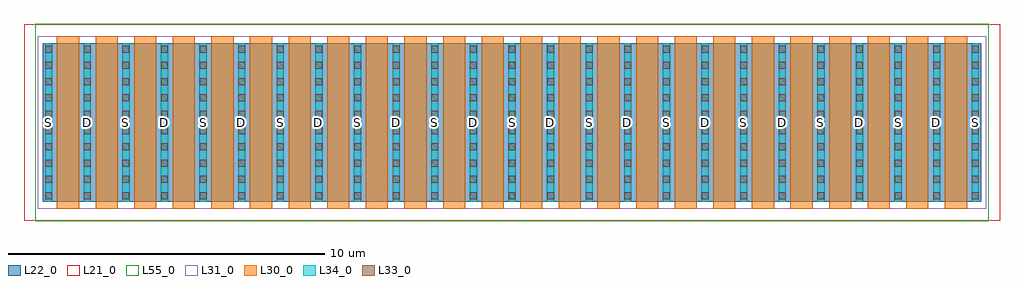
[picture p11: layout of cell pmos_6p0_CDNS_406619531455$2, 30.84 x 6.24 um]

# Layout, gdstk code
import gdstk
lib = gdstk.Library(unit=1e-6, precision=1e-09)
def R(c, l, rs):  # rectangles x0, y0, x1, y1
    for r in rs: c.add(gdstk.rectangle(r[:2], r[2:], *l))
def A(c, l, x, y, w, h, nx, ny, dx, dy):  # array of equal rectangles
    R(c, l, [(x+i*dx, y+j*dy, x+i*dx+w, y+j*dy+h) for i in range(nx) for j in range(ny)])
L21_0 = (21, 0)
L22_0 = (22, 0)
L30_0 = (30, 0)
L31_0 = (31, 0)
L33_0 = (33, 0)
L34_0 = (34, 0)
L55_0 = (55, 0)

pmos_6p0_cdns_4066195314 = lib.new_cell('pmos_6p0_CDNS_406619531455$2')
R(pmos_6p0_cdns_4066195314, L21_0, [(-1.04,-0.6,29.8,5.6)])
A(pmos_6p0_cdns_4066195314, L22_0, -0.44, 0, 0.36, 5, 25, 1, 1.22, 0)
R(pmos_6p0_cdns_4066195314, L22_0, [(-0.44,0,29.2,5)])
A(pmos_6p0_cdns_4066195314, L30_0, 0, -0.22, 0.7, 5.44, 24, 1, 1.22, 0)
A(pmos_6p0_cdns_4066195314, L30_0, 0, 5, 0.7, 0.22, 24, 1, 1.22, 0)
R(pmos_6p0_cdns_4066195314, L31_0, [(-0.6,-0.23,29.36,5.23)])
A(pmos_6p0_cdns_4066195314, L33_0, -0.37, 0.07, 0.22, 0.22, 25, 2, 1.22, 0.52)
A(pmos_6p0_cdns_4066195314, L33_0, -0.37, 1.105, 0.22, 0.22, 25, 8, 1.22, 0.515)
R(pmos_6p0_cdns_4066195314, L34_0, [(-0.375,0,-0.145,5), (-0.375,0,-0.145,5), (0.845,0,1.075,5), (0.845,0,1.075,5), (2.065,0,2.295,5), (2.065,0,2.295,5), (3.285,0,3.515,5), (3.285,0,3.515,5), (4.505,0,4.735,5), (4.505,0,4.735,5), (5.725,0,5.955,5), (5.725,0,5.955,5), (6.945,0,7.175,5), (6.945,0,7.175,5), (8.165,0,8.395,5), (8.165,0,8.395,5), (9.385,0,9.615,5), (9.385,0,9.615,5), (10.605,0,10.835,5), (10.605,0,10.835,5), (11.825,0,12.055,5), (11.825,0,12.055,5), (13.045,0,13.275,5), (13.045,0,13.275,5), (14.265,0,14.495,5), (14.265,0,14.495,5), (15.485,0,15.715,5), (15.485,0,15.715,5), (16.705,0,16.935,5), (16.705,0,16.935,5), (17.925,0,18.155,5), (17.925,0,18.155,5), (19.145,0,19.375,5), (19.145,0,19.375,5), (20.365,0,20.595,5), (20.365,0,20.595,5), (21.585,0,21.815,5), (21.585,0,21.815,5), (22.805,0,23.035,5), (22.805,0,23.035,5), (24.025,0,24.255,5), (24.025,0,24.255,5), (25.245,0,25.475,5), (25.245,0,25.475,5), (26.465,0,26.695,5), (26.465,0,26.695,5), (27.685,0,27.915,5), (27.685,0,27.915,5), (28.905,0,29.135,5), (28.905,0,29.135,5)])
R(pmos_6p0_cdns_4066195314, L55_0, [(-0.68,-0.62,29.44,5.62)])
pmos_6p0_cdns_4066195314.add(gdstk.Label('S', (-0.26,2.5), layer=34, texttype=0))
pmos_6p0_cdns_4066195314.add(gdstk.Label('S', (29.02,2.5), layer=34, texttype=0))
pmos_6p0_cdns_4066195314.add(gdstk.Label('D', (0.96,2.5), layer=34, texttype=0))
pmos_6p0_cdns_4066195314.add(gdstk.Label('S', (2.18,2.5), layer=34, texttype=0))
pmos_6p0_cdns_4066195314.add(gdstk.Label('D', (3.4,2.5), layer=34, texttype=0))
pmos_6p0_cdns_4066195314.add(gdstk.Label('S', (4.62,2.5), layer=34, texttype=0))
pmos_6p0_cdns_4066195314.add(gdstk.Label('D', (5.84,2.5), layer=34, texttype=0))
pmos_6p0_cdns_4066195314.add(gdstk.Label('S', (7.06,2.5), layer=34, texttype=0))
pmos_6p0_cdns_4066195314.add(gdstk.Label('D', (8.28,2.5), layer=34, texttype=0))
pmos_6p0_cdns_4066195314.add(gdstk.Label('S', (9.5,2.5), layer=34, texttype=0))
pmos_6p0_cdns_4066195314.add(gdstk.Label('D', (10.72,2.5), layer=34, texttype=0))
pmos_6p0_cdns_4066195314.add(gdstk.Label('S', (11.94,2.5), layer=34, texttype=0))
pmos_6p0_cdns_4066195314.add(gdstk.Label('D', (13.16,2.5), layer=34, texttype=0))
pmos_6p0_cdns_4066195314.add(gdstk.Label('S', (14.38,2.5), layer=34, texttype=0))
pmos_6p0_cdns_4066195314.add(gdstk.Label('D', (15.6,2.5), layer=34, texttype=0))
pmos_6p0_cdns_4066195314.add(gdstk.Label('S', (16.82,2.5), layer=34, texttype=0))
pmos_6p0_cdns_4066195314.add(gdstk.Label('D', (18.04,2.5), layer=34, texttype=0))
pmos_6p0_cdns_4066195314.add(gdstk.Label('S', (19.26,2.5), layer=34, texttype=0))
pmos_6p0_cdns_4066195314.add(gdstk.Label('D', (20.48,2.5), layer=34, texttype=0))
pmos_6p0_cdns_4066195314.add(gdstk.Label('S', (21.7,2.5), layer=34, texttype=0))
pmos_6p0_cdns_4066195314.add(gdstk.Label('D', (22.92,2.5), layer=34, texttype=0))
pmos_6p0_cdns_4066195314.add(gdstk.Label('S', (24.14,2.5), layer=34, texttype=0))
pmos_6p0_cdns_4066195314.add(gdstk.Label('D', (25.36,2.5), layer=34, texttype=0))
pmos_6p0_cdns_4066195314.add(gdstk.Label('S', (26.58,2.5), layer=34, texttype=0))
pmos_6p0_cdns_4066195314.add(gdstk.Label('D', (27.8,2.5), layer=34, texttype=0))

lib.write_gds('pmos_6p0_CDNS_406619531455_2.gds')
